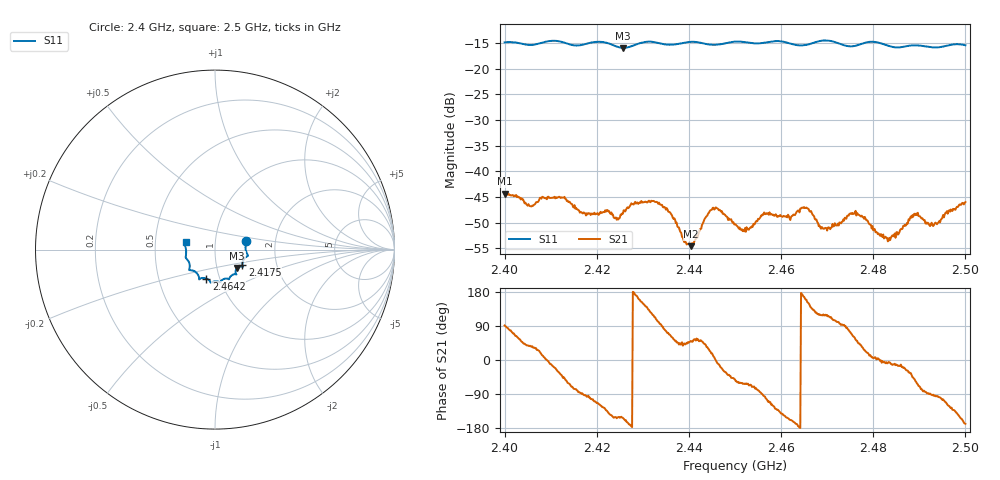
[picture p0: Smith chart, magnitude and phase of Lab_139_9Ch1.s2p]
# Hz S RI R 50
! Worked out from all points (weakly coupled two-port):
!   601 points, 2.4 GHz to 2.5 GHz, reference 50 ohm
!   highest |S21| = -44.35 dB at 2.4 GHz (marker M1); lowest = -54.6 dB at 2.4405 GHz (marker M2)
!   lowest |S11| = -15.9 dB at 2.4257 GHz (marker M3), VSWR 1.38, Z = 62.5 - j13 ohm
!   |S11| at or under -10 dB: start of sweep to end of sweep
!   S12 and S22 are empty: the file has one direction only
!   S11 on the Smith chart (normalised r, x): 2.4 GHz: 1.41, +0.14; 2.4175 GHz: 1.34, -0.23; 2.4642 GHz: 0.86, -0.29; 2.5 GHz: 0.72, +0.06
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2.4e9  0.1735 0.0493  -0.000121 0.00606  0 0  0 0
2.405833e9  0.17 0.00429  0.00372 0.00261  0 0  0 0
2.4125e9  0.1779 -0.0382  0.00408 -0.00376  0 0  0 0
2.416667e9  0.153 -0.0741  5.5e-05 -0.00399  0 0  0 0
2.4175e9  0.1521 -0.0837  -0.000171 -0.00388  0 0  0 0
2.425667e9  0.1228 -0.1018  -0.00342 -0.00177  0 0  0 0
2.428e9  0.1146 -0.1234  -0.00474 0.000104  0 0  0 0
2.433333e9  0.1135 -0.137  -0.000936 0.00473  0 0  0 0
2.4405e9  0.0786 -0.165  0.0012 0.00142  0 0  0 0
2.445333e9  0.0531 -0.1623  0.00435 0.000718  0 0  0 0
2.45e9  0.0287 -0.1813  0.00191 -0.00239  0 0  0 0
2.4525e9  0.0205 -0.1793  0.00134 -0.00252  0 0  0 0
2.4565e9  -0.0101 -0.1791  -0.000447 -0.00384  0 0  0 0
2.461833e9  -0.0296 -0.1743  -0.00324 -0.00135  0 0  0 0
2.464167e9  -0.048 -0.1613  -0.00433 -4.76e-05  0 0  0 0
2.466667e9  -0.0762 -0.159  -0.0028 0.00275  0 0  0 0
2.4695e9  -0.0886 -0.1662  -0.00131 0.00247  0 0  0 0
2.4765e9  -0.1217 -0.1171  0.00248 0.00304  0 0  0 0
2.483333e9  -0.1407 -0.0898  0.0021 -0.000196  0 0  0 0
2.489e9  -0.1628 -0.0448  0.00242 -0.00301  0 0  0 0
2.493333e9  -0.1606 -0.0102  -0.000203 -0.00309  0 0  0 0
2.5e9  -0.1636 0.0424  -0.00491 -0.00103  0 0  0 0
